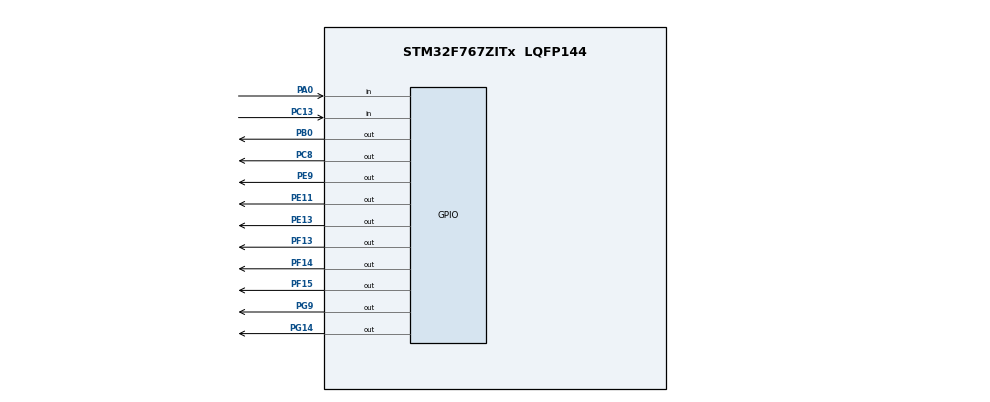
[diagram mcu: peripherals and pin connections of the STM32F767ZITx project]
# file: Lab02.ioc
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Mcu.Family=STM32F7
Mcu.Name=STM32F767ZITx
Mcu.Package=LQFP144
NVIC.PriorityGroup=NVIC_PRIORITYGROUP_4
PA0/WKUP.Signal=GPIO_Input
PB0.Signal=GPIO_Output
PC13.Signal=GPIO_Input
PC8.Signal=GPIO_Output
PE11.Signal=GPIO_Output
PE13.Signal=GPIO_Output
PE9.Signal=GPIO_Output
PF13.Signal=GPIO_Output
PF14.Signal=GPIO_Output
PF15.Signal=GPIO_Output
PG14.Signal=GPIO_Output
PG9.Signal=GPIO_Output
ProjectManager.HeapSize=0x200
ProjectManager.StackSize=0x400
ProjectManager.TargetToolchain=STM32CubeIDE
RCC.AHBFreq_Value=216000000
RCC.APB1CLKDivider=RCC_HCLK_DIV4
RCC.APB1Freq_Value=54000000
RCC.APB1TimFreq_Value=108000000
RCC.APB2CLKDivider=RCC_HCLK_DIV2
RCC.APB2Freq_Value=108000000
RCC.APB2TimFreq_Value=216000000
RCC.CortexFreq_Value=216000000
RCC.HCLKFreq_Value=216000000
RCC.HSE_VALUE=25000000
RCC.HSI_VALUE=16000000
RCC.LSE_VALUE=32768
RCC.PLLM=8
RCC.PLLN=216
RCC.SYSCLKFreq_VALUE=216000000
RCC.SYSCLKSource=RCC_SYSCLKSOURCE_PLLCLK
RCC.USBFreq_Value=216000000
RCC.VCOOutputFreq_Value=432000000
board=custom

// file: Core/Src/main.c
/* USER CODE BEGIN Header */
/**
 ******************************************************************************
 * @file           : main.c
 * @brief          : Main program body
 ******************************************************************************
 * @attention
 *
 * Copyright (c) 2022 STMicroelectronics.
 * All rights reserved.
 *
 * This software is licensed under terms that can be found in the LICENSE file
 * in the root directory of this software component.
 * If no LICENSE file comes with this software, it is provided AS-IS.
 *
 ******************************************************************************
 */
/* USER CODE END Header */
#include "main.h"

/* USER CODE BEGIN PV */
uint8_t led0;
uint8_t led1;
uint8_t check = 0;
void led_light(uint8_t d1, uint8_t d2, uint8_t d3, uint8_t d4, uint8_t d5,
		uint8_t d6, uint8_t d7, uint8_t d8) {
	HAL_GPIO_WritePin(GPIOG, GPIO_PIN_9, d1);
	HAL_GPIO_WritePin(GPIOG, GPIO_PIN_14, d2);
	HAL_GPIO_WritePin(GPIOF, GPIO_PIN_15, d3);
	HAL_GPIO_WritePin(GPIOE, GPIO_PIN_13, d4);
	HAL_GPIO_WritePin(GPIOF, GPIO_PIN_14, d5);
	HAL_GPIO_WritePin(GPIOE, GPIO_PIN_11, d6);
	HAL_GPIO_WritePin(GPIOE, GPIO_PIN_9, d7);
	HAL_GPIO_WritePin(GPIOF, GPIO_PIN_13, d8);
}
/* USER CODE END PV */

void SystemClock_Config(void);
static void MX_GPIO_Init(void);

int main(void) {

	/* MCU Configuration--------------------------------------------------------*/

	/* Reset of all peripherals, Initializes the Flash interface and the Systick. */
	HAL_Init();

	/* Configure the system clock */
	SystemClock_Config();

	/* Initialize all configured peripherals */
	MX_GPIO_Init();

	/* Infinite loop */
	while (1) {

		/* USER CODE BEGIN 3 */
//	  if (HAL_GPIO_ReadPin(GPIOC, GPIO_PIN_13) == GPIO_PIN_SET)
//	  {
//		  HAL_GPIO_WritePin(GPIOB, GPIO_PIN_0, GPIO_PIN_SET);
//		  led0 = 1;
//		  HAL_Delay(1000);
//		  HAL_GPIO_WritePin(GPIOB, GPIO_PIN_0, GPIO_PIN_RESET);
//		  led0 = 0;
//
//	  }
//	  else if (HAL_GPIO_ReadPin(GPIOA, GPIO_PIN_0) == GPIO_PIN_RESET)
//	  {
//		  HAL_GPIO_WritePin(GPIOC, GPIO_PIN_8, GPIO_PIN_RESET);
//		  led1 = 1;
//		  HAL_Delay(1000);
//		  HAL_GPIO_WritePin(GPIOC, GPIO_PIN_8, GPIO_PIN_SET);
//		  led1 = 0;
//	  }
//	  HAL_GPIO_WritePin(GPIOC, GPIO_PIN_8, GPIO_PIN_SET);
		if (HAL_GPIO_ReadPin(GPIOC, GPIO_PIN_13) == GPIO_PIN_SET) {
			check += 1;
			HAL_Delay(300);
		} else if (HAL_GPIO_ReadPin(GPIOA, GPIO_PIN_0) == GPIO_PIN_RESET) {
			led_light(1, 1, 1, 1, 1, 1, 1, 1);
			led_light(1, 1, 1, 1, 1, 1, 1, 0);
			HAL_Delay(500);
			led_light(1, 1, 1, 1, 1, 1, 0, 1);
			HAL_Delay(500);
			led_light(1, 1, 1, 1, 1, 0, 1, 1);
			HAL_Delay(500);
			led_light(1, 1, 1, 1, 0, 1, 1, 1);
			HAL_Delay(500);
			led_light(1, 1, 1, 0, 1, 1, 1, 1);
			HAL_Delay(500);
			led_light(1, 1, 0, 1, 1, 1, 1, 1);
			HAL_Delay(500);
			led_light(1, 0, 1, 1, 1, 1, 1, 1);
			HAL_Delay(500);
			led_light(0, 1, 1, 1, 1, 1, 1, 1);
			HAL_Delay(500);
			check = 0;
		}
		if (check == 0) {
			led_light(1, 1, 1, 1, 1, 1, 1, 1);
			check = 1;
		} else if (check == 1) {
			led_light(0, 1, 1, 1, 1, 1, 1, 1);
		} else if (check == 2) {
			led_light(1, 0, 1, 1, 1, 1, 1, 1);
		} else if (check == 3) {
			led_light(1, 1, 0, 1, 1, 1, 1, 1);
		} else if (check == 4) {
			led_light(1, 1, 1, 0, 1, 1, 1, 1);
		} else if (check == 5) {
			led_light(1, 1, 1, 1, 0, 1, 1, 1);
		} else if (check == 6) {
			led_light(1, 1, 1, 1, 1, 0, 1, 1);
		} else if (check == 7) {
			led_light(1, 1, 1, 1, 1, 1, 0, 1);
		} else if (check == 8) {
			led_light(1, 1, 1, 1, 1, 1, 1, 0);
		} else if (check == 9) {
			check = 1;
		}

		/* USER CODE END 3 */
	}
}
	/**
	 * @brief System Clock Configuration
	 * @retval None
	 */
	void SystemClock_Config(void) {
		RCC_OscInitTypeDef RCC_OscInitStruct = { 0 };
		RCC_ClkInitTypeDef RCC_ClkInitStruct = { 0 };

		/** Configure the main internal regulator output voltage
		 */
		__HAL_RCC_PWR_CLK_ENABLE();
		__HAL_PWR_VOLTAGESCALING_CONFIG(PWR_REGULATOR_VOLTAGE_SCALE1);

		/** Initializes the RCC Oscillators according to the specified parameters
		 * in the RCC_OscInitTypeDef structure.
		 */
		RCC_OscInitStruct.OscillatorType = RCC_OSCILLATORTYPE_HSI;
		RCC_OscInitStruct.HSIState = RCC_HSI_ON;
		RCC_OscInitStruct.HSICalibrationValue = RCC_HSICALIBRATION_DEFAULT;
		RCC_OscInitStruct.PLL.PLLState = RCC_PLL_ON;
		RCC_OscInitStruct.PLL.PLLSource = RCC_PLLSOURCE_HSI;
		RCC_OscInitStruct.PLL.PLLM = 8;
		RCC_OscInitStruct.PLL.PLLN = 216;
		RCC_OscInitStruct.PLL.PLLP = RCC_PLLP_DIV2;
		RCC_OscInitStruct.PLL.PLLQ = 2;
		RCC_OscInitStruct.PLL.PLLR = 2;
		if (HAL_RCC_OscConfig(&RCC_OscInitStruct) != HAL_OK) {
			Error_Handler();
		}

		/** Activate the Over-Drive mode
		 */
		if (HAL_PWREx_EnableOverDrive() != HAL_OK) {
			Error_Handler();
		}

		/** Initializes the CPU, AHB and APB buses clocks
		 */
		RCC_ClkInitStruct.ClockType = RCC_CLOCKTYPE_HCLK | RCC_CLOCKTYPE_SYSCLK
				| RCC_CLOCKTYPE_PCLK1 | RCC_CLOCKTYPE_PCLK2;
		RCC_ClkInitStruct.SYSCLKSource = RCC_SYSCLKSOURCE_PLLCLK;
		RCC_ClkInitStruct.AHBCLKDivider = RCC_SYSCLK_DIV1;
		RCC_ClkInitStruct.APB1CLKDivider = RCC_HCLK_DIV4;
		RCC_ClkInitStruct.APB2CLKDivider = RCC_HCLK_DIV2;

		if (HAL_RCC_ClockConfig(&RCC_ClkInitStruct, FLASH_LATENCY_7)
				!= HAL_OK) {
			Error_Handler();
		}
	}

	/**
	 * @brief GPIO Initialization Function
	 * @param None
	 * @retval None
	 */
	static void MX_GPIO_Init(void) {
		GPIO_InitTypeDef GPIO_InitStruct = { 0 };

		/* GPIO Ports Clock Enable */
		__HAL_RCC_GPIOC_CLK_ENABLE();
		__HAL_RCC_GPIOA_CLK_ENABLE();
		__HAL_RCC_GPIOB_CLK_ENABLE();
		__HAL_RCC_GPIOF_CLK_ENABLE();
		__HAL_RCC_GPIOE_CLK_ENABLE();
		__HAL_RCC_GPIOG_CLK_ENABLE();

		/*Configure GPIO pin Output Level */
		HAL_GPIO_WritePin(GPIOB, GPIO_PIN_0, GPIO_PIN_RESET);

		/*Configure GPIO pin Output Level */
		HAL_GPIO_WritePin(GPIOF, GPIO_PIN_13 | GPIO_PIN_14 | GPIO_PIN_15,
				GPIO_PIN_RESET);

		/*Configure GPIO pin Output Level */
		HAL_GPIO_WritePin(GPIOE, GPIO_PIN_9 | GPIO_PIN_11 | GPIO_PIN_13,
				GPIO_PIN_RESET);

		/*Configure GPIO pin Output Level */
		HAL_GPIO_WritePin(GPIOC, GPIO_PIN_8, GPIO_PIN_RESET);

		/*Configure GPIO pin Output Level */
		HAL_GPIO_WritePin(GPIOG, GPIO_PIN_9 | GPIO_PIN_14, GPIO_PIN_RESET);

		/*Configure GPIO pin : PC13 */
		GPIO_InitStruct.Pin = GPIO_PIN_13;
		GPIO_InitStruct.Mode = GPIO_MODE_INPUT;
		GPIO_InitStruct.Pull = GPIO_NOPULL;
		HAL_GPIO_Init(GPIOC, &GPIO_InitStruct);

		/*Configure GPIO pin : PA0 */
		GPIO_InitStruct.Pin = GPIO_PIN_0;
		GPIO_InitStruct.Mode = GPIO_MODE_INPUT;
		GPIO_InitStruct.Pull = GPIO_NOPULL;
		HAL_GPIO_Init(GPIOA, &GPIO_InitStruct);

		/*Configure GPIO pin : PB0 */
		GPIO_InitStruct.Pin = GPIO_PIN_0;
		GPIO_InitStruct.Mode = GPIO_MODE_OUTPUT_PP;
		GPIO_InitStruct.Pull = GPIO_NOPULL;
		GPIO_InitStruct.Speed = GPIO_SPEED_FREQ_LOW;
		HAL_GPIO_Init(GPIOB, &GPIO_InitStruct);

		/*Configure GPIO pins : PF13 PF14 PF15 */
		GPIO_InitStruct.Pin = GPIO_PIN_13 | GPIO_PIN_14 | GPIO_PIN_15;
		GPIO_InitStruct.Mode = GPIO_MODE_OUTPUT_PP;
		GPIO_InitStruct.Pull = GPIO_NOPULL;
		GPIO_InitStruct.Speed = GPIO_SPEED_FREQ_LOW;
		HAL_GPIO_Init(GPIOF, &GPIO_InitStruct);

		/*Configure GPIO pins : PE9 PE11 PE13 */
		GPIO_InitStruct.Pin = GPIO_PIN_9 | GPIO_PIN_11 | GPIO_PIN_13;
		GPIO_InitStruct.Mode = GPIO_MODE_OUTPUT_PP;
		GPIO_InitStruct.Pull = GPIO_NOPULL;
		GPIO_InitStruct.Speed = GPIO_SPEED_FREQ_LOW;
		HAL_GPIO_Init(GPIOE, &GPIO_InitStruct);

		/*Configure GPIO pin : PC8 */
		GPIO_InitStruct.Pin = GPIO_PIN_8;
		GPIO_InitStruct.Mode = GPIO_MODE_OUTPUT_PP;
		GPIO_InitStruct.Pull = GPIO_NOPULL;
		GPIO_InitStruct.Speed = GPIO_SPEED_FREQ_LOW;
		HAL_GPIO_Init(GPIOC, &GPIO_InitStruct);

		/*Configure GPIO pins : PG9 PG14 */
		GPIO_InitStruct.Pin = GPIO_PIN_9 | GPIO_PIN_14;
		GPIO_InitStruct.Mode = GPIO_MODE_OUTPUT_PP;
		GPIO_InitStruct.Pull = GPIO_NOPULL;
		GPIO_InitStruct.Speed = GPIO_SPEED_FREQ_LOW;
		HAL_GPIO_Init(GPIOG, &GPIO_InitStruct);

	}

	/**
	 * @brief  This function is executed in case of error occurrence.
	 * @retval None
	 */
	void Error_Handler(void) {
		__disable_irq();
		while (1) {
		}
	}
